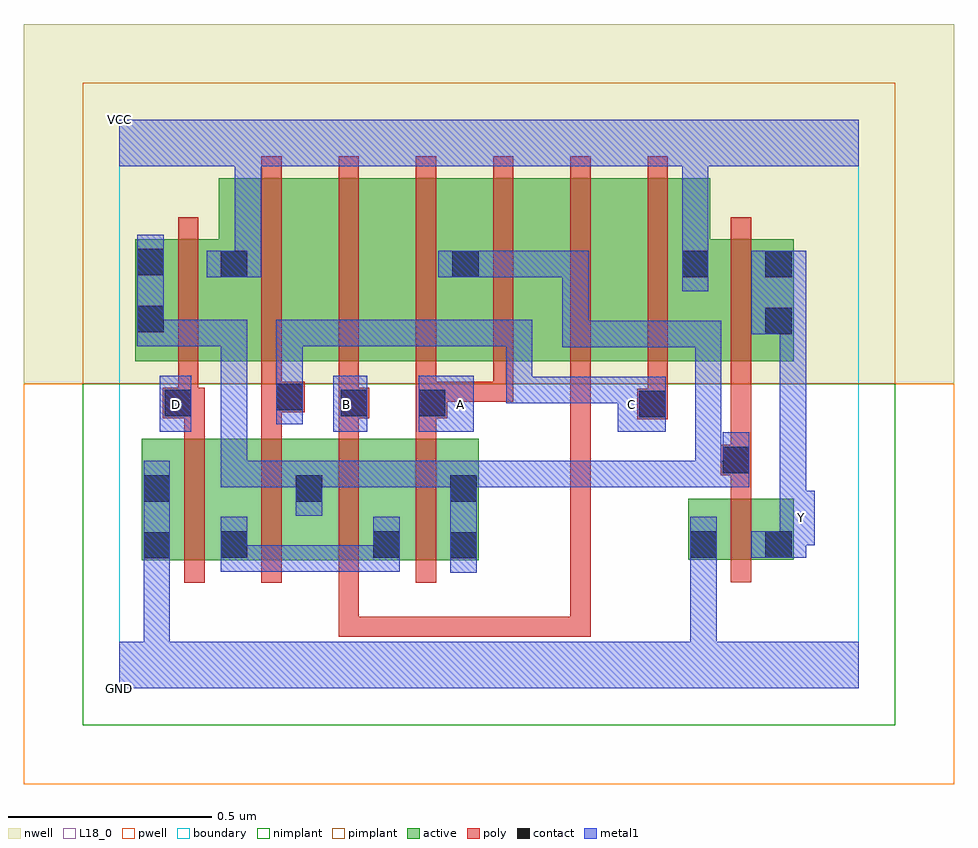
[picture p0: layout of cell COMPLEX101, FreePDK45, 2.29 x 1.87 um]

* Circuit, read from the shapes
.subckt COMPLEX101 A B C D GND VCC Y
M1 n1 D GND VSUBS nfet w=0.3u l=0.05u
M2 n2 C n1 VSUBS nfet w=0.3u l=0.05u
M3 n1 B n2 VSUBS nfet w=0.3u l=0.05u
M4 n2 A n1 VSUBS nfet w=0.3u l=0.05u
M5 Y n2 GND VSUBS nfet w=0.15u l=0.05u
M6 VCC D n2 n3 pfet w=0.3u l=0.05u
M7 n4 C VCC n3 pfet w=0.45u l=0.05u
M8 n5 B n4 n3 pfet w=0.45u l=0.05u
M9 n2 A n5 n3 pfet w=0.45u l=0.05u
M10 n6 A n2 n3 pfet w=0.45u l=0.05u
M11 n7 B n6 n3 pfet w=0.45u l=0.05u
M12 VCC C n7 n3 pfet w=0.45u l=0.05u
M13 Y n2 VCC n3 pfet w=0.3u l=0.05u
.ends

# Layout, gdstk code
import gdstk
lib = gdstk.Library(unit=1e-6, precision=1e-09)
def R(c, l, rs):  # rectangles x0, y0, x1, y1
    for r in rs: c.add(gdstk.rectangle(r[:2], r[2:], *l))
def A(c, l, x, y, w, h, nx, ny, dx, dy):  # array of equal rectangles
    R(c, l, [(x+i*dx, y+j*dy, x+i*dx+w, y+j*dy+h) for i in range(nx) for j in range(ny)])
active = (1, 0)
pwell = (2, 0)
nwell = (3, 0)
nimplant = (4, 0)
pimplant = (5, 0)
poly = (9, 0)
contact = (10, 0)
metal1 = (11, 0)
L18_0 = (18, 0)
boundary = (235, 0)

complex101 = lib.new_cell('COMPLEX101')
R(complex101, active, [(0.055,0.315,0.13,0.615), (0.055,0.315,0.32,0.615), (0.245,0.315,0.32,0.547), (0.245,0.315,0.505,0.615), (0.43,0.315,0.695,0.615), (0.62,0.315,0.885,0.615), (0.62,0.315,0.695,0.547), (0.81,0.315,0.885,0.615), (1.4,0.317,1.475,0.467), (1.4,0.317,1.66,0.467), (1.585,0.317,1.66,0.467), (0.43,0.382,0.505,0.53), (0.04,0.805,0.115,1.105), (0.04,0.805,0.32,1.105), (0.245,0.805,0.47,1.255), (0.47,0.805,0.66,1.255), (0.66,0.805,0.89,1.255), (0.815,0.805,1.04,1.255), (1.04,0.805,1.23,1.255), (1.23,0.805,1.455,1.255), (1.38,0.805,1.66,1.105), (1.38,0.805,1.455,1.255), (1.585,0.805,1.66,1.105), (0.815,0.857,0.89,1.2), (0.245,0.89,0.32,1.17)])
R(complex101, pwell, [(-0.235,-0.235,2.055,0.75)])
R(complex101, nwell, [(-0.235,0.75,2.055,1.635)])
R(complex101, nimplant, [(-0.09,-0.09,1.91,0.75)])
R(complex101, pimplant, [(-0.09,0.75,1.91,1.49)])
A(complex101, poly, 0.16, 0.26, 0.05, 0.41, 4, 1, 0.19, 0)
A(complex101, poly, 0.35, 0.75, 0.05, 0.56, 6, 1, 0.19, 0)
R(complex101, poly, [(0.54,0.127,0.59,0.177), (0.54,0.127,0.59,0.177), (0.54,0.127,0.59,0.177), (0.54,0.127,0.747,0.177), (0.54,0.127,0.59,0.31), (0.697,0.127,0.747,0.177), (0.697,0.127,0.747,0.177), (0.697,0.127,0.747,0.177), (0.697,0.127,0.94,0.177), (0.89,0.127,0.94,0.177), (0.89,0.127,1.16,0.177), (1.11,0.127,1.16,0.8), (1.11,0.127,1.16,0.177), (1.11,0.127,1.16,0.177), (1.11,0.127,1.16,0.177), (1.11,0.127,1.16,0.177), (1.11,0.127,1.16,0.177), (1.11,0.127,1.16,0.177), (1.11,0.127,1.16,0.177), (1.11,0.127,1.16,0.177), (1.11,0.127,1.16,0.177), (1.11,0.127,1.16,0.177), (1.11,0.127,1.16,0.177), (1.505,0.262,1.555,0.522), (1.505,0.472,1.555,0.575), (1.48,0.525,1.555,0.6), (1.505,0.55,1.555,0.8), (0.16,0.62,0.21,0.715), (0.35,0.62,0.4,0.73), (0.54,0.62,0.59,0.715), (0.73,0.62,0.78,0.715), (1.275,0.662,1.35,0.737), (0.107,0.665,0.21,0.74), (0.54,0.665,0.615,0.74), (0.73,0.665,0.807,0.755), (0.35,0.68,0.457,0.755), (1.3,0.687,1.35,0.8), (0.145,0.69,0.195,0.8), (0.54,0.69,0.59,0.8), (0.35,0.705,0.4,0.8), (0.73,0.705,0.78,0.8), (0.757,0.705,0.807,0.755), (0.757,0.705,0.807,0.755), (0.757,0.705,0.97,0.755), (0.92,0.705,0.97,0.755), (0.92,0.705,0.97,0.8), (0.145,0.75,0.195,1.16), (1.505,0.75,1.555,1.16)])
R(complex101, contact, [(0.06,0.32,0.125,0.385), (0.815,0.32,0.88,0.385), (0.25,0.322,0.315,0.387), (0.625,0.322,0.69,0.387), (1.405,0.322,1.47,0.387), (1.59,0.322,1.655,0.387), (0.06,0.46,0.125,0.525), (0.435,0.46,0.5,0.525), (0.815,0.46,0.88,0.525), (1.485,0.53,1.55,0.595), (1.28,0.667,1.345,0.732), (0.112,0.67,0.177,0.735), (0.545,0.67,0.61,0.735), (0.737,0.67,0.802,0.735), (0.387,0.685,0.452,0.75), (1.59,0.872,1.655,0.937), (0.045,0.877,0.11,0.942), (0.25,1.012,0.315,1.077), (0.82,1.012,0.885,1.077), (1.385,1.012,1.45,1.077), (1.59,1.012,1.655,1.077), (0.045,1.017,0.11,1.082)])
R(complex101, metal1, [(0,0,1.82,0.115), (0.06,0.05,0.125,0.115), (0.06,0.05,0.125,0.115), (0.06,0.05,0.125,0.115), (0.06,0.05,0.125,0.115), (0.06,0.05,0.125,0.35), (1.405,0.05,1.47,0.115), (1.405,0.05,1.47,0.115), (1.405,0.05,1.47,0.115), (1.405,0.05,1.47,0.115), (1.405,0.05,1.47,0.115), (1.405,0.05,1.47,0.115), (1.405,0.05,1.47,0.352), (0.06,0.285,0.125,0.56), (0.815,0.285,0.88,0.56), (0.25,0.287,0.315,0.422), (0.25,0.287,0.455,0.352), (0.39,0.287,0.455,0.352), (0.39,0.287,0.455,0.352), (0.39,0.287,0.455,0.352), (0.39,0.287,0.665,0.352), (0.6,0.287,0.665,0.352), (0.6,0.287,0.69,0.352), (0.625,0.287,0.69,0.422), (1.405,0.287,1.47,0.422), (1.555,0.322,1.69,0.387), (1.625,0.322,1.69,0.417), (1.625,0.352,1.712,0.487), (1.625,0.422,1.69,0.937), (0.435,0.425,0.5,0.56), (0.25,0.495,0.315,0.56), (0.25,0.495,0.315,0.56), (0.25,0.495,0.315,0.56), (0.25,0.495,0.315,0.56), (0.25,0.495,0.315,0.56), (0.25,0.495,0.5,0.56), (0.25,0.495,0.315,0.907), (0.435,0.495,0.637,0.56), (0.572,0.495,0.637,0.56), (0.572,0.495,0.637,0.56), (0.572,0.495,0.637,0.56), (0.572,0.495,0.88,0.56), (0.815,0.495,0.88,0.56), (0.815,0.495,0.88,0.56), (0.815,0.495,1.017,0.56), (0.952,0.495,1.017,0.56), (0.952,0.495,1.155,0.56), (1.09,0.495,1.155,0.56), (1.09,0.495,1.155,0.56), (1.09,0.495,1.155,0.56), (1.09,0.495,1.292,0.56), (1.227,0.495,1.482,0.56), (1.227,0.495,1.292,0.56), (1.227,0.495,1.292,0.56), (1.227,0.495,1.292,0.56), (1.417,0.495,1.55,0.56), (1.417,0.495,1.482,0.905), (1.417,0.495,1.482,0.56), (1.417,0.495,1.482,0.56), (1.417,0.495,1.482,0.56), (1.485,0.495,1.55,0.63), (0.1,0.632,0.177,0.77), (0.527,0.632,0.61,0.77), (0.737,0.632,0.872,0.77), (1.227,0.632,1.345,0.767), (0.387,0.65,0.452,0.785), (0.952,0.702,1.017,0.767), (0.952,0.702,1.017,0.767), (0.952,0.702,1.017,0.767), (0.952,0.702,1.155,0.767), (0.952,0.702,1.017,0.907), (1.09,0.702,1.155,0.767), (1.09,0.702,1.155,0.767), (1.09,0.702,1.155,0.767), (1.09,0.702,1.292,0.767), (1.227,0.702,1.292,0.767), (1.227,0.702,1.292,0.767), (0.387,0.72,0.452,0.785), (0.387,0.72,0.452,0.785), (0.387,0.72,0.452,0.907), (1.09,0.84,1.155,0.905), (1.09,0.84,1.155,0.905), (1.09,0.84,1.155,0.905), (1.09,0.84,1.292,0.905), (1.09,0.84,1.155,1.077), (1.227,0.84,1.482,0.905), (1.227,0.84,1.292,0.905), (1.227,0.84,1.292,0.905), (1.227,0.84,1.292,0.905), (1.417,0.84,1.482,0.905), (0.045,0.842,0.11,0.907), (0.045,0.842,0.11,0.907), (0.045,0.842,0.11,1.117), (0.045,0.842,0.315,0.907), (0.25,0.842,0.315,0.907), (0.387,0.842,0.452,0.907), (0.387,0.842,0.665,0.907), (0.6,0.842,0.665,0.907), (0.6,0.842,0.665,0.907), (0.6,0.842,0.665,0.907), (0.6,0.842,0.802,0.907), (0.737,0.842,0.802,0.907), (0.737,0.842,1.017,0.907), (0.952,0.842,1.017,0.907), (1.555,0.872,1.69,1.077), (1.385,0.977,1.45,1.112), (0.215,1.012,0.35,1.077), (0.285,1.012,0.35,1.35), (0.785,1.012,0.92,1.077), (0.855,1.012,1.017,1.077), (0.952,1.012,1.017,1.077), (0.952,1.012,1.155,1.077), (1.09,1.012,1.155,1.077), (1.385,1.047,1.45,1.35), (0,1.285,1.82,1.4)])
R(complex101, L18_0, [(0,0,1.82,0.115), (0.06,0.05,0.125,0.115), (0.06,0.05,0.125,0.115), (0.06,0.05,0.125,0.115), (0.06,0.05,0.125,0.115), (0.06,0.05,0.125,0.35), (1.405,0.05,1.47,0.115), (1.405,0.05,1.47,0.115), (1.405,0.05,1.47,0.115), (1.405,0.05,1.47,0.115), (1.405,0.05,1.47,0.115), (1.405,0.05,1.47,0.115), (1.405,0.05,1.47,0.352), (0.06,0.285,0.125,0.56), (1.405,0.287,1.47,0.422), (1.555,0.322,1.69,0.387), (1.625,0.322,1.69,0.417), (1.625,0.352,1.712,0.487), (1.647,0.387,1.712,0.452), (1.625,0.422,1.69,0.937), (0.1,0.632,0.177,0.77), (0.527,0.632,0.61,0.77), (0.737,0.632,0.872,0.77), (1.227,0.632,1.345,0.767), (0.387,0.65,0.452,0.785), (0.107,0.667,0.172,0.732), (0.527,0.667,0.592,0.732), (0.807,0.667,0.872,0.732), (1.227,0.667,1.292,0.732), (0.952,0.702,1.017,0.767), (0.952,0.702,1.017,0.767), (0.952,0.702,1.017,0.767), (0.952,0.702,1.017,0.907), (0.952,0.702,1.155,0.767), (1.09,0.702,1.155,0.767), (1.09,0.702,1.155,0.767), (1.09,0.702,1.155,0.767), (1.09,0.702,1.292,0.767), (1.227,0.702,1.292,0.767), (1.227,0.702,1.292,0.767), (0.387,0.72,0.452,0.785), (0.387,0.72,0.452,0.785), (0.387,0.72,0.452,0.907), (0.387,0.842,0.452,0.907), (0.387,0.842,0.665,0.907), (0.6,0.842,0.665,0.907), (0.6,0.842,0.665,0.907), (0.6,0.842,0.665,0.907), (0.6,0.842,0.802,0.907), (0.737,0.842,0.802,0.907), (0.737,0.842,1.017,0.907), (0.952,0.842,1.017,0.907), (1.555,0.872,1.69,1.077), (1.385,0.977,1.45,1.112), (0.215,1.012,0.35,1.077), (0.285,1.012,0.35,1.35), (1.385,1.047,1.45,1.35), (0,1.285,1.82,1.4)])
R(complex101, boundary, [(0,0,1.82,1.4)])
complex101.add(gdstk.Label('A', (0.84,0.7), layer=11, texttype=0))
complex101.add(gdstk.Label('B', (0.56,0.7), layer=11, texttype=0))
complex101.add(gdstk.Label('C', (1.26,0.7), layer=11, texttype=0))
complex101.add(gdstk.Label('D', (0.14,0.7), layer=11, texttype=0))
complex101.add(gdstk.Label('Y', (1.68,0.42), layer=11, texttype=0))
complex101.add(gdstk.Label('VCC', (0,1.4), layer=11, texttype=0))
complex101.add(gdstk.Label('GND', (0,0), layer=11, texttype=0))

lib.write_gds('COMPLEX101.gds')
